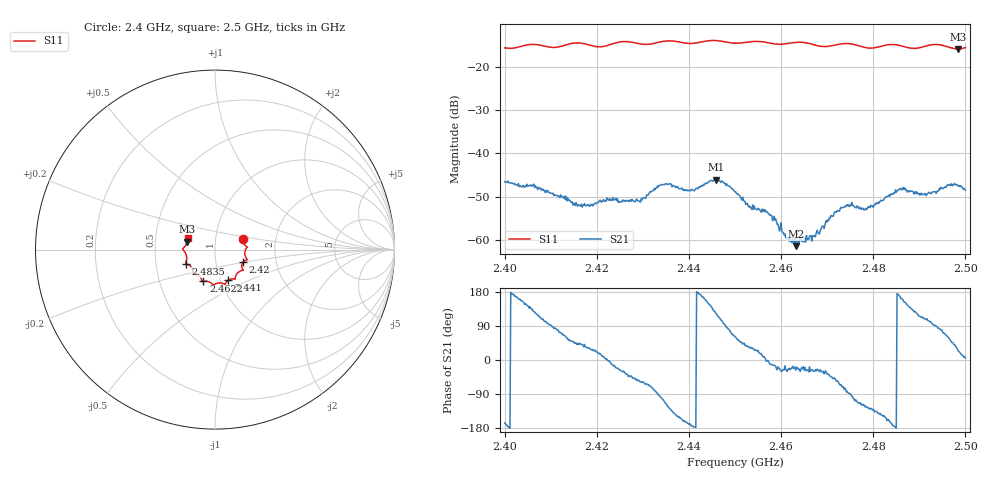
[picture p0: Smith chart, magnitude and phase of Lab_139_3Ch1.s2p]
# Hz S RI R 50
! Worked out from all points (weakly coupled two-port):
!   601 points, 2.4 GHz to 2.5 GHz, reference 50 ohm
!   highest |S21| = -46.09 dB at 2.4458 GHz (marker M1); lowest = -61.5 dB at 2.4632 GHz (marker M2)
!   lowest |S11| = -15.9 dB at 2.4985 GHz (marker M3), VSWR 1.38, Z = 36.5 + j3.29 ohm
!   |S11| at or under -10 dB: start of sweep to end of sweep
!   S12 and S22 are empty: the file has one direction only
!   S11 on the Smith chart (normalised r, x): 2.4 GHz: 1.35, +0.16; 2.42 GHz: 1.35, -0.20; 2.441 GHz: 1.09, -0.39; 2.4622 GHz: 0.83, -0.30; 2.4835 GHz: 0.71, -0.12; 2.5 GHz: 0.73, +0.10
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2.4e9  0.154 0.059  -0.00458 -0.00114  0 0  0 0
2.406167e9  0.1804 0.0149  -0.00265 0.00329  0 0  0 0
2.416667e9  0.1781 -0.0569  0.00194 0.00171  0 0  0 0
2.42e9  0.1548 -0.0707  0.00248 0.000963  0 0  0 0
2.429333e9  0.1391 -0.1204  0.00148 -0.0023  0 0  0 0
2.433333e9  0.1132 -0.1539  -0.000137 -0.00406  0 0  0 0
2.441e9  0.0747 -0.1706  -0.00369 -0.000307  0 0  0 0
2.445833e9  0.0535 -0.1936  -0.00271 0.00415  0 0  0 0
2.45e9  0.025 -0.1854  0.0017 0.00314  0 0  0 0
2.453167e9  -0.0017 -0.1938  0.00207 0.00132  0 0  0 0
2.4575e9  -0.021 -0.1866  0.0019 -0.000326  0 0  0 0
2.462167e9  -0.0646 -0.1771  0.000915 -0.000376  0 0  0 0
2.463167e9  -0.0698 -0.1779  0.000755 -0.000379  0 0  0 0
2.466667e9  -0.075 -0.1661  0.000872 -0.000416  0 0  0 0
2.473333e9  -0.123 -0.1374  0.000742 -0.00222  0 0  0 0
2.4785e9  -0.1272 -0.1062  -0.00122 -0.00187  0 0  0 0
2.483333e9  -0.1616 -0.0789  -0.003 -0.00113  0 0  0 0
2.4835e9  -0.1622 -0.0789  -0.00311 -0.00117  0 0  0 0
2.486333e9  -0.1598 -0.0652  -0.00368 0.00128  0 0  0 0
2.491167e9  -0.1716 -0.00784  -0.00114 0.00323  0 0  0 0
2.4985e9  -0.1545 0.0439  0.00385 0.00163  0 0  0 0
2.5e9  -0.1528 0.0654  0.00373 0.000342  0 0  0 0
